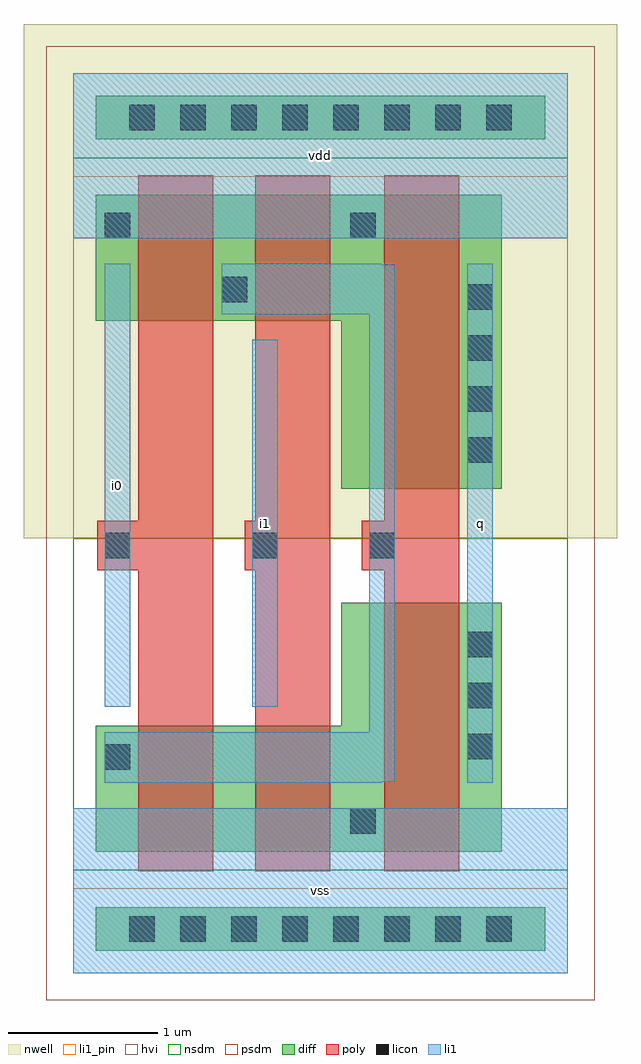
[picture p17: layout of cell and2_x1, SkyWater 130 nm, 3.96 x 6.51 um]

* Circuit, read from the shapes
.subckt and2_x1 i0 i1 q vdd vss
XM1 n1 i0 n2 VSUBS sky130_fd_pr__nfet_g5v0d10v5 w=0.84 l=0.5
XM2 vss i1 n1 VSUBS sky130_fd_pr__nfet_g5v0d10v5 w=0.84 l=0.5
XM3 q n2 vss VSUBS sky130_fd_pr__nfet_g5v0d10v5 w=1.66 l=0.5
XM4 n2 i0 vdd n3 sky130_fd_pr__pfet_g5v0d10v5 w=0.84 l=0.5
XM5 vdd i1 n2 n3 sky130_fd_pr__pfet_g5v0d10v5 w=0.84 l=0.5
XM6 q n2 vdd n3 sky130_fd_pr__pfet_g5v0d10v5 w=1.96 l=0.5
.ends

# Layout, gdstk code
import gdstk
lib = gdstk.Library(unit=1e-6, precision=1e-09)
def R(c, l, rs):  # rectangles x0, y0, x1, y1
    for r in rs: c.add(gdstk.rectangle(r[:2], r[2:], *l))
def A(c, l, x, y, w, h, nx, ny, dx, dy):  # array of equal rectangles
    R(c, l, [(x+i*dx, y+j*dy, x+i*dx+w, y+j*dy+h) for i in range(nx) for j in range(ny)])
def P(c, l, *ps):  # polygons
    for p in ps: c.add(gdstk.Polygon(p, *l))
nwell = (64, 20)
diff = (65, 20)
poly = (66, 20)
licon = (66, 44)
li1_pin = (67, 16)
li1 = (67, 20)
hvi = (75, 20)
nsdm = (93, 44)
psdm = (94, 20)

and2_x1 = lib.new_cell('and2_x1')
R(and2_x1, nwell, [(-0.33,2.9,3.63,6.33)])
R(and2_x1, diff, [(0.15,0.15,3.15,0.44), (0.15,5.56,3.15,5.85)])
P(and2_x1, diff, [(1.79,3.23),(1.79,4.35),(0.15,4.35),(0.15,5.19),(2.86,5.19),(2.86,3.23)],
  [(0.15,0.81),(0.15,1.65),(1.79,1.65),(1.79,2.47),(2.86,2.47),(2.86,0.81)])
P(and2_x1, poly, [(2.075,0.68),(2.075,2.685),(1.925,2.685),(1.925,3.015),(2.075,3.015),(2.075,5.32),(2.575,5.32),(2.575,0.68)],
  [(0.435,0.68),(0.435,2.685),(0.16,2.685),(0.16,3.015),(0.435,3.015),(0.435,5.32),(0.935,5.32),(0.935,0.68)],
  [(1.215,0.68),(1.215,2.685),(1.145,2.685),(1.145,3.015),(1.215,3.015),(1.215,5.32),(1.715,5.32),(1.715,0.68)])
A(and2_x1, licon, 0.375, 0.21, 0.17, 0.17, 8, 2, 0.34, 5.41)
A(and2_x1, licon, 2.63, 1.425, 0.17, 0.17, 1, 3, 0, 0.34)
A(and2_x1, licon, 2.63, 3.405, 0.17, 0.17, 1, 4, 0, 0.34)
R(and2_x1, licon, [(1.85,0.93,2.02,1.1), (0.21,1.355,0.38,1.525), (0.21,2.765,0.38,2.935), (1.195,2.765,1.365,2.935), (1.975,2.765,2.145,2.935), (0.99,4.475,1.16,4.645), (0.21,4.9,0.38,5.07), (1.85,4.9,2.02,5.07)])
R(and2_x1, li1_pin, [(0,0,3.3,1.1), (2.63,1.27,2.8,4.73), (0.21,1.775,0.38,4.73), (1.195,1.775,1.365,4.225), (0,4.9,3.3,6)])
R(and2_x1, li1, [(0,0,3.3,1.1), (2.63,1.27,2.8,4.73), (0.21,1.775,0.38,4.73), (1.195,1.775,1.365,4.225), (0,4.9,3.3,6)])
P(and2_x1, li1, [(0.21,1.27),(0.21,1.605),(1.975,1.605),(1.975,4.395),(0.99,4.395),(0.99,4.73),(2.06,4.73),(2.06,4.725),(2.145,4.725),(2.145,1.275),(2.06,1.275),(2.06,1.27)])
R(and2_x1, hvi, [(-0.18,-0.18,3.48,6.18)])
R(and2_x1, nsdm, [(0,0.685,3.3,2.9), (0,5.435,3.3,6)])
R(and2_x1, psdm, [(0,0,3.3,0.565), (0,2.9,3.3,5.315)])
and2_x1.add(gdstk.Label('vdd', (1.65,5.45), layer=67, texttype=16))
and2_x1.add(gdstk.Label('vss', (1.65,0.55), layer=67, texttype=16))
and2_x1.add(gdstk.Label('i0', (0.295,3.253), layer=67, texttype=16))
and2_x1.add(gdstk.Label('i1', (1.28,3), layer=67, texttype=16))
and2_x1.add(gdstk.Label('q', (2.715,3), layer=67, texttype=16))

lib.write_gds('and2_x1.gds')
